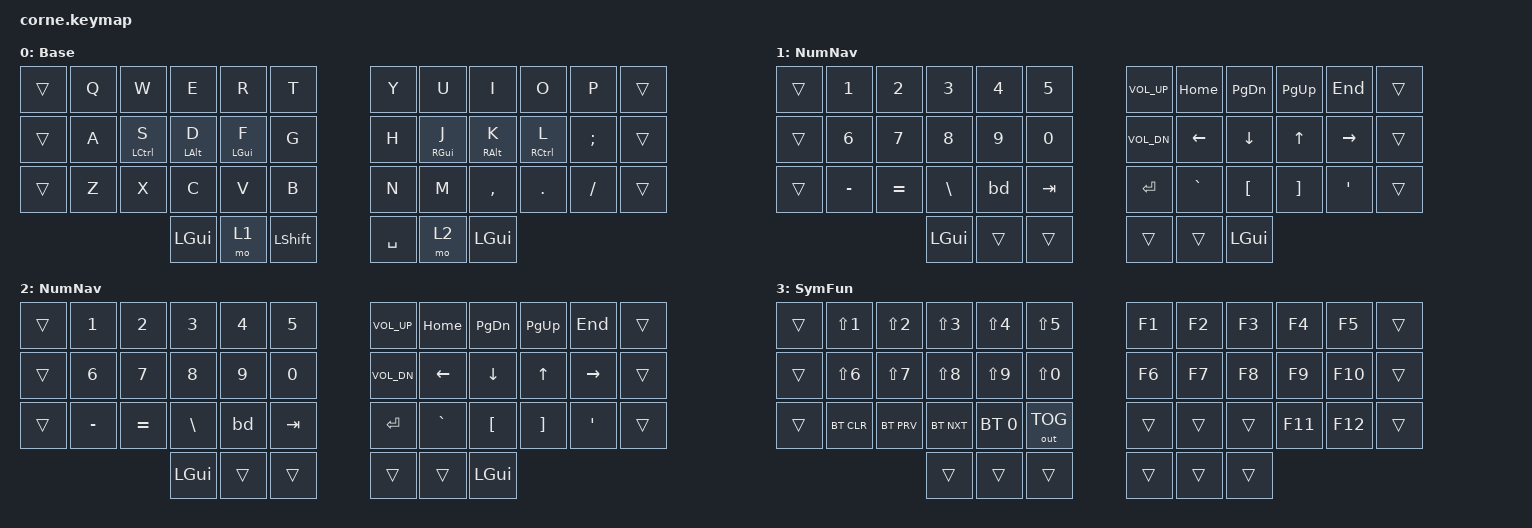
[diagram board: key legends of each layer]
/*
 * Copyright (c) 2021 Pete Johanson
 *
 * SPDX-License-Identifier: MIT
 */

#include <behaviors.dtsi>
#include <dt-bindings/zmk/bt.h>
#include <dt-bindings/zmk/keys.h>
#include <dt-bindings/zmk/outputs.h>

&lt { quick_tap_ms = <200>; };

/ {
    conditional_layers {
        compatible = "zmk,conditional-layers";

        tri_layer {
            if-layers = <1 2>;
            then-layer = <3>;
        };
    };

    combos {
        compatible = "zmk,combos";

        combo_esc {
            timeout-ms = <50>;
            key-positions = <0 4>;
            bindings = <&kp ESC>;
        };
    };

    behaviors {
        hm: homerow_mods {
            compatible = "zmk,behavior-hold-tap";
            label = "HOMEROW_MODS";
            #binding-cells = <2>;
            tapping-term-ms = <200>;
            flavor = "tap-preferred";
            bindings = <&kp>, <&kp>;
        };

        bd: backspace_delete {
            compatible = "zmk,behavior-mod-morph";
            label = "BACKSPACE_DELETE";
            #binding-cells = <0>;
            bindings = <&kp BSPC>, <&kp DEL>;

            mods = <(MOD_LSFT|MOD_RSFT)>;
        };
    };

    keymap {
        compatible = "zmk,keymap";

        base_layer {
            label = "Base";
            bindings = <
&trans  &kp Q  &kp W        &kp E       &kp R       &kp T         &kp Y      &kp U       &kp I       &kp O        &kp P      &trans
&trans  &kp A  &hm LCTRL S  &hm LALT D  &hm LGUI F  &kp G         &kp H      &hm RGUI J  &hm RALT K  &hm RCTRL L  &kp SEMI   &trans
&trans  &kp Z  &kp X        &kp C       &kp V       &kp B         &kp N      &kp M       &kp COMMA   &kp DOT      &kp SLASH  &trans
                            &kp LGUI    &mo 1       &kp LSHIFT    &kp SPACE  &mo 2       &kp LGUI
            >;
        };

        lower_layer {
            label = "NumNav";
            bindings = <
&trans  &kp N1     &kp N2     &kp N3    &kp N4  &kp N5     &kp C_VOL_UP  &kp HOME   &kp PG_DN  &kp PG_UP  &kp END    &trans
&trans  &kp N6     &kp N7     &kp N8    &kp N9  &kp N0     &kp C_VOL_DN  &kp LEFT   &kp DOWN   &kp UP     &kp RIGHT  &trans
&trans  &kp MINUS  &kp EQUAL  &kp BSLH  &bd     &kp TAB    &kp ENTER     &kp GRAVE  &kp LBKT   &kp RBKT   &kp SQT    &trans
                              &kp LGUI  &trans  &trans     &trans        &trans     &kp LGUI
            >;
        };

        raise_layer {
            label = "NumNav";
            bindings = <
&trans  &kp N1     &kp N2     &kp N3    &kp N4  &kp N5     &kp C_VOL_UP  &kp HOME   &kp PG_DN  &kp PG_UP  &kp END    &trans
&trans  &kp N6     &kp N7     &kp N8    &kp N9  &kp N0     &kp C_VOL_DN  &kp LEFT   &kp DOWN   &kp UP     &kp RIGHT  &trans
&trans  &kp MINUS  &kp EQUAL  &kp BSLH  &bd     &kp TAB    &kp ENTER     &kp GRAVE  &kp LBKT   &kp RBKT   &kp SQT    &trans
                              &kp LGUI  &trans  &trans     &trans        &trans     &kp LGUI
            >;
        };

        adjust_layer {
            label = "SymFun";
            bindings = <
&trans  &kp LS(N1)  &kp LS(N2)  &kp LS(N3)  &kp LS(N4)    &kp LS(N5)      &kp F1  &kp F2  &kp F3  &kp F4   &kp F5   &trans
&trans  &kp LS(N6)  &kp LS(N7)  &kp LS(N8)  &kp LS(N9)    &kp LS(N0)      &kp F6  &kp F7  &kp F8  &kp F9   &kp F10  &trans
&trans  &bt BT_CLR  &bt BT_PRV  &bt BT_NXT  &bt BT_SEL 0  &out OUT_TOG    &trans  &trans  &trans  &kp F11  &kp F12  &trans
                                &trans      &trans        &trans          &trans  &trans  &trans
            >;
        };
    };
};
